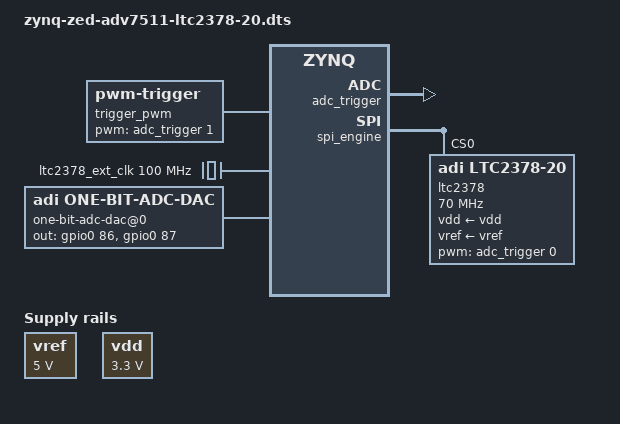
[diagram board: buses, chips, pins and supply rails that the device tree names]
// SPDX-License-Identifier: GPL-2.0
/*
 * Analog Devices LTC2378-20 series of ADCs
 * https://www.analog.com/en/products/ltc2378-20.html
 *
 * hdl_project: <ltc2378_fmc/zed>
 * Link: 
 * board_revision: <>
 *
 * Copyright (C) 2025 Analog Devices Inc.
 */

 /dts-v1/;

#include "zynq-zed.dtsi"
#include "zynq-zed-adv7511.dtsi"
#include <dt-bindings/interrupt-controller/irq.h>
#include <dt-bindings/gpio/gpio.h>

/ {
	vref: regulator-vref {
		compatible = "regulator-fixed";
		regulator-name = "fixed-supply";
		regulator-min-microvolt = <5000000>;
		regulator-max-microvolt = <5000000>;
		regulator-always-on;
	};

	vdd: regulator-vdd {
		compatible = "regulator-fixed";
		regulator-name = "LTC2378 VDD";
		regulator-min-microvolt = <3300000>;
		regulator-max-microvolt = <3300000>;
		regulator-always-on;
	};

	trigger_pwm: adc-pwm-trigger {
		compatible = "pwm-trigger";
		#trigger-source-cells = <0>;
		pwms = <&adc_trigger 1 0>;  /* PWM1 for SPI offload trigger */
	};

	clocks {
		ltc2378_ext_clk: ext-clk {
			#clock-cells = <0x0>;
			compatible = "fixed-clock";
			clock-frequency = <100000000>;
			clock-output-names = "ltc2378_ext_clk";
		};
	};

        one-bit-adc-dac@0 {
                compatible = "adi,one-bit-adc-dac";
                #address-cells = <1>;
                #size-cells = <0>;
                out-gpios = <&gpio0 86 GPIO_ACTIVE_HIGH>,
			    <&gpio0 87 GPIO_ACTIVE_HIGH>;

                channel@0 {
			reg = <0>;
			label = "CHAIN";
                };
                channel@1 {
			reg = <1>;
			label = "DCG";
                };
        };
};

&fpga_axi {
	rx_dma: dma-controller@0x44a30000 {
		compatible = "adi,axi-dmac-1.00.a";
		reg = <0x44a30000 0x1000>;
		#dma-cells = <1>;
		interrupt-parent = <&intc>;
		interrupts = <0 57 IRQ_TYPE_LEVEL_HIGH>;
		clocks = <&clkc 16>;
	};

        spi_clk: clock-controller@0x44a70000 {
		compatible = "adi,axi-clkgen-2.00.a";
		reg = <0x44a70000 0x10000>;
		#clock-cells = <0>;
		clocks = <&clkc 15>, <&clkc 15>;
		clock-names = "s_axi_aclk", "clkin1";
		clock-output-names = "spi_clk";

		assigned-clocks = <&spi_clk>;
		assigned-clock-rates = <140000000>;
	};
	adc_trigger: pwm@0x44b00000 {
		compatible = "adi,axi-pwmgen-2.00.a";
		reg = <0x44b00000 0x1000>;
		label = "adc_conversion_trigger";
		#pwm-cells = <2>;
		#trigger-source-cells = <0>;  /* Act as direct trigger source */
		clocks = <&clkc 15>, <&ltc2378_ext_clk>;
		clock-names = "axi", "ext";
	};

	spi_engine: spi@0x44a00000 {
		compatible = "adi,axi-spi-engine-1.00.a";  /* New SPI engine */
		reg = <0x44a00000 0x10000>;
		interrupt-parent = <&intc>;
		interrupts = <0 56 IRQ_TYPE_LEVEL_HIGH>;
		clocks = <&clkc 15>, <&spi_clk>;
		clock-names = "s_axi_aclk", "spi_clk";
		
		/* New: DMA and trigger configuration for offload */
		dmas = <&rx_dma 0>;
		dma-names = "offload0-rx";
		trigger-sources = <&trigger_pwm>;

		#address-cells = <0x1>;
		#size-cells = <0x0>;

                ltc2378: adc@0 {
                        #address-cells = <1>;
			#size-cells = <0>;
			compatible = "adi,ltc2378-20";
        	        reg = <0>;
        	        spi-max-frequency = <70000000>;
        	        // SPI mode 0 (CPOL=0, CPHA=0) - LTC2378 datasheet specifies this
        	        // Data valid on rising edge, idle low

                        //spi-cpha; //CPHA = 1 - spi mode 1

        	        clocks = <&spi_clk>;
        	        clock-names = "spi_clk";

        	        vdd-supply = <&vdd>;
        	        vref-supply = <&vref>;

			/* PWM configuration for dual PWM architecture:
			 * - PWM channel 0: CNV signal (conversion trigger)
			 * - PWM channel 1: SPI offload trigger
			 * Note: Driver only controls CNV (PWM0), SPI offload controls trigger (PWM1)
			 */
			pwms = <&adc_trigger 0 0>;
			pwm-names = "cnv";
                };
	};
};
